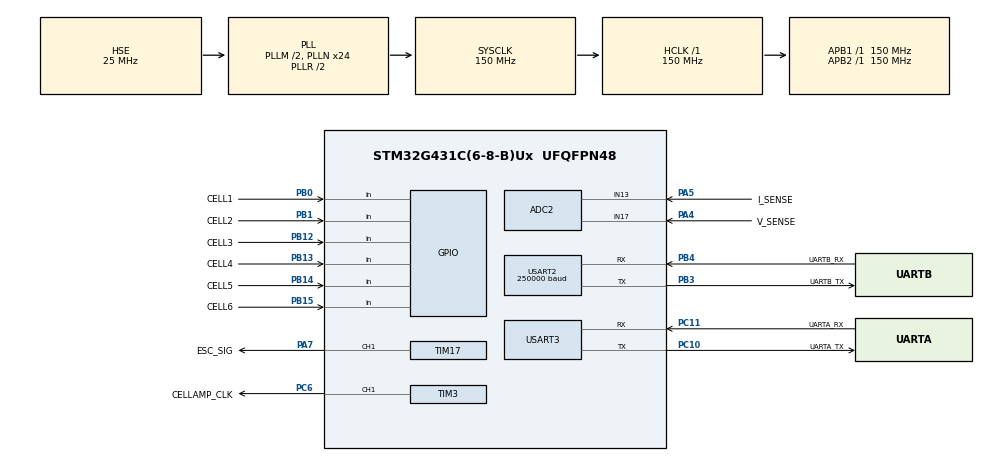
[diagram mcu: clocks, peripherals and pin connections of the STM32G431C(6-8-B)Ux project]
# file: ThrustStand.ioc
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ADC2.Channel-0\#ChannelRegularConversion=ADC_CHANNEL_17
ADC2.Channel-1\#ChannelRegularConversion=ADC_CHANNEL_13
ADC2.ContinuousConvMode=ENABLE
ADC2.NbrOfConversion=2
ADC2.NbrOfConversionFlag=1
ADC2.OffsetNumber-0\#ChannelRegularConversion=ADC_OFFSET_NONE
ADC2.OffsetNumber-1\#ChannelRegularConversion=ADC_OFFSET_NONE
ADC2.OversamplingMode=ENABLE
ADC2.Rank-0\#ChannelRegularConversion=1
ADC2.Rank-1\#ChannelRegularConversion=2
ADC2.Ratio=ADC_OVERSAMPLING_RATIO_256
ADC2.RightBitShift=ADC_RIGHTBITSHIFT_8
ADC2.SamplingTime-0\#ChannelRegularConversion=ADC_SAMPLETIME_2CYCLES_5
ADC2.SamplingTime-1\#ChannelRegularConversion=ADC_SAMPLETIME_2CYCLES_5
Dma.ADC2.0.Direction=DMA_PERIPH_TO_MEMORY
Dma.ADC2.0.EventEnable=DISABLE
Dma.ADC2.0.Instance=DMA1_Channel1
Dma.ADC2.0.MemDataAlignment=DMA_MDATAALIGN_HALFWORD
Dma.ADC2.0.MemInc=DMA_MINC_ENABLE
Dma.ADC2.0.Mode=DMA_NORMAL
Dma.ADC2.0.PeriphDataAlignment=DMA_PDATAALIGN_HALFWORD
Dma.ADC2.0.PeriphInc=DMA_PINC_DISABLE
Dma.ADC2.0.Polarity=HAL_DMAMUX_REQ_GEN_RISING
Dma.ADC2.0.Priority=DMA_PRIORITY_LOW
Dma.ADC2.0.RequestNumber=1
Dma.ADC2.0.SignalID=NONE
Dma.ADC2.0.SyncEnable=DISABLE
Dma.ADC2.0.SyncPolarity=HAL_DMAMUX_SYNC_NO_EVENT
Dma.ADC2.0.SyncRequestNumber=1
Dma.ADC2.0.SyncSignalID=NONE
Dma.Request0=ADC2
Mcu.Family=STM32G4
Mcu.Name=STM32G431C(6-8-B)Ux
Mcu.Package=UFQFPN48
NVIC.DMA1_Channel1_IRQn=true\:0\:0\:false\:false\:true\:false\:true\:true
NVIC.PriorityGroup=NVIC_PRIORITYGROUP_4
NVIC.TIM1_BRK_TIM15_IRQn=true\:0\:0\:false\:false\:true\:true\:true\:true
NVIC.TIM1_UP_TIM16_IRQn=true\:0\:0\:false\:false\:true\:true\:true\:true
NVIC.TIM3_IRQn=true\:0\:0\:false\:false\:true\:true\:true\:true
NVIC.USART2_IRQn=true\:0\:0\:false\:false\:true\:true\:true\:true
NVIC.USART3_IRQn=true\:0\:0\:false\:false\:true\:true\:true\:true
PA13.Mode=Serial_Wire
PA13.Signal=SYS_JTMS-SWDIO
PA14.Mode=Serial_Wire
PA14.Signal=SYS_JTCK-SWCLK
PA4.GPIO_Label=V_SENSE
PA4.Mode=IN17-Single-Ended
PA4.Signal=ADC2_IN17
PA5.GPIO_Label=I_SENSE
PA5.Mode=IN13-Single-Ended
PA5.Signal=ADC2_IN13
PA7.GPIO_Label=ESC_SIG
PA7.Signal=S_TIM17_CH1
PB0.GPIO_Label=CELL1
PB0.Signal=GPIO_Input
PB1.GPIO_Label=CELL2
PB1.Signal=GPIO_Input
PB12.GPIO_Label=CELL3
PB12.Signal=GPIO_Input
PB13.GPIO_Label=CELL4
PB13.Signal=GPIO_Input
PB14.GPIO_Label=CELL5
PB14.Signal=GPIO_Input
PB15.GPIO_Label=CELL6
PB15.Signal=GPIO_Input
PB3.GPIO_Label=UARTB_TX
PB3.Mode=Asynchronous
PB3.Signal=USART2_TX
PB4.GPIO_Label=UARTB_RX
PB4.Mode=Asynchronous
PB4.Signal=USART2_RX
PC10.GPIO_Label=UARTA_TX
PC10.Mode=Asynchronous
PC10.Signal=USART3_TX
PC11.GPIO_Label=UARTA_RX
PC11.Mode=Asynchronous
PC11.Signal=USART3_RX
PC6.GPIO_Label=CELLAMP_CLK
PC6.Signal=S_TIM3_CH1
PF0-OSC_IN.Mode=HSE-External-Oscillator
PF0-OSC_IN.Signal=RCC_OSC_IN
PF1-OSC_OUT.Mode=HSE-External-Oscillator
PF1-OSC_OUT.Signal=RCC_OSC_OUT
ProjectManager.HeapSize=0x200
ProjectManager.StackSize=0x400
ProjectManager.TargetToolchain=STM32CubeIDE
RCC.ADC12Freq_Value=150000000
RCC.AHBFreq_Value=150000000
RCC.APB1Freq_Value=150000000
RCC.APB1TimFreq_Value=150000000
RCC.APB2Freq_Value=150000000
RCC.APB2TimFreq_Value=150000000
RCC.CK48CLockSelection=RCC_USBCLKSOURCE_HSI48
RCC.CortexFreq_Value=150000000
RCC.EXTERNAL_CLOCK_VALUE=12288000
RCC.HCLKFreq_Value=150000000
RCC.HSE_VALUE=25000000
RCC.HSI48_VALUE=48000000
RCC.HSI_VALUE=16000000
RCC.LSE_VALUE=32768
RCC.PLLM=RCC_PLLM_DIV2
RCC.PLLN=24
RCC.PLLSourceVirtual=RCC_PLLSOURCE_HSE
RCC.SYSCLKFreq_VALUE=150000000
RCC.SYSCLKSource=RCC_SYSCLKSOURCE_PLLCLK
RCC.USART2CLockSelection=RCC_USART2CLKSOURCE_SYSCLK
RCC.USART3CLockSelection=RCC_USART3CLKSOURCE_SYSCLK
RCC.USBFreq_Value=48000000
RCC.VCOOutputFreq_Value=300000000
SH.S_TIM17_CH1.0=TIM17_CH1,PWM Generation1 CH1
SH.S_TIM3_CH1.0=TIM3_CH1,PWM Generation1 CH1
TIM15.PeriodNoDither=5000
TIM15.Prescaler=1500-1
TIM16.PeriodNoDither=5000-1
TIM16.Prescaler=15000-1
TIM17.Channel=TIM_CHANNEL_1
TIM17.PeriodNoDither=20000-1
TIM17.Prescaler=150-1
TIM17.PulseNoDither_1=1000
TIM3.Channel-PWM\ Generation1\ CH1=TIM_CHANNEL_1
TIM3.CounterMode=TIM_COUNTERMODE_DOWN
TIM3.OCPolarity_1=TIM_OCPOLARITY_HIGH
TIM3.PeriodNoDither=10-1
TIM3.Prescaler=150-1
TIM3.PulseNoDither_1=4
USART2.BaudRate=250000
USART2.VirtualMode-Asynchronous=VM_ASYNC
USART3.AutoBaudRateEnableParam=UART_ADVFEATURE_AUTOBAUDRATE_ENABLE
USART3.VirtualMode-Asynchronous=VM_ASYNC
VP_TIM15_VS_ClockSourceINT.Mode=Internal
VP_TIM16_VS_ClockSourceINT.Mode=Enable_Timer
VP_TIM17_VS_ClockSourceINT.Mode=Enable_Timer
VP_TIM3_VS_ClockSourceINT.Mode=Internal
board=custom

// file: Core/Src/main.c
/* USER CODE BEGIN Header */
/**
 ******************************************************************************
 * @file           : main.c
 * @brief          : Main program body
 ******************************************************************************
 * @attention
 *
 * Copyright (c) 2023 Charles Surianto
 * All rights reserved.
 *
 ******************************************************************************
 */
/* USER CODE END Header */
#include "main.h"

/* USER CODE BEGIN Includes */
#include "stdio.h"
#include "stdint.h"
#include "string.h"
/* USER CODE END Includes */

ADC_HandleTypeDef hadc2;
DMA_HandleTypeDef hdma_adc2;

TIM_HandleTypeDef htim3;
TIM_HandleTypeDef htim15;
TIM_HandleTypeDef htim16;
TIM_HandleTypeDef htim17;

UART_HandleTypeDef huart2;
UART_HandleTypeDef huart3;

/* USER CODE BEGIN PV */
GPIO_TypeDef *HX717DataPorts[NUM_OF_CELLS] = {
    CELL1_GPIO_Port,
    CELL2_GPIO_Port,
    CELL3_GPIO_Port,
    CELL4_GPIO_Port,
    CELL5_GPIO_Port,
    CELL6_GPIO_Port};
uint16_t HX717DataPins[NUM_OF_CELLS] = {
    CELL1_Pin,
    CELL2_Pin,
    CELL3_Pin,
    CELL4_Pin,
    CELL5_Pin,
    CELL6_Pin};
int32_t RawCellReadings[NUM_OF_CELLS];
int8_t PulseCounter = -1;

uint16_t RawADCReadings[2];
float Voltage;
float Current;
float VoltPerADC = 1.40822486624E-2F;
float AmpPerADC = 2.6271654212E-2F;
float AmpOffset = 50;

uint8_t UARTARxCounter = 0;
uint8_t UARTARxByte;
uint8_t UARTARxBuffer[UART_RX_BUFFER_SIZE];
uint8_t UARTATxBuffer[UART_TX_BUFFER_SIZE];
uint8_t UARTATimedOut = 0;

uint16_t ESCPulse = 1000;
uint16_t PrevESCPulse;
/* USER CODE END PV */

void SystemClock_Config(void);
static void MX_GPIO_Init(void);
static void MX_DMA_Init(void);
static void MX_USART2_UART_Init(void);
static void MX_USART3_UART_Init(void);
static void MX_ADC2_Init(void);
static void MX_TIM17_Init(void);
static void MX_TIM16_Init(void);
static void MX_TIM3_Init(void);
static void MX_TIM15_Init(void);
/* USER CODE BEGIN PFP */
void HX717_Init(void);
/* USER CODE END PFP */

int main(void)
{

    /* MCU Configuration--------------------------------------------------------*/

    /* Reset of all peripherals, Initializes the Flash interface and the Systick. */
    HAL_Init();

    /* Configure the system clock */
    SystemClock_Config();

    /* Initialize all configured peripherals */
    MX_GPIO_Init();
    MX_DMA_Init();
    MX_USART2_UART_Init();
    MX_USART3_UART_Init();
    MX_ADC2_Init();
    MX_TIM17_Init();
    MX_TIM16_Init();
    MX_TIM3_Init();
    MX_TIM15_Init();
    /* USER CODE BEGIN 2 */
    HX717_Init();
    /* USER CODE END 2 */

    /* Infinite loop */
    while (1)
    {

    }
}

void SystemClock_Config(void)
{
    RCC_OscInitTypeDef RCC_OscInitStruct = {0};
    RCC_ClkInitTypeDef RCC_ClkInitStruct = {0};

    /** Configure the main internal regulator output voltage
     */
    HAL_PWREx_ControlVoltageScaling(PWR_REGULATOR_VOLTAGE_SCALE1);

    /** Initializes the RCC Oscillators according to the specified parameters
     * in the RCC_OscInitTypeDef structure.
     */
    RCC_OscInitStruct.OscillatorType = RCC_OSCILLATORTYPE_HSE;
    RCC_OscInitStruct.HSEState = RCC_HSE_ON;
    RCC_OscInitStruct.PLL.PLLState = RCC_PLL_ON;
    RCC_OscInitStruct.PLL.PLLSource = RCC_PLLSOURCE_HSE;
    RCC_OscInitStruct.PLL.PLLM = RCC_PLLM_DIV2;
    RCC_OscInitStruct.PLL.PLLN = 24;
    RCC_OscInitStruct.PLL.PLLP = RCC_PLLP_DIV2;
    RCC_OscInitStruct.PLL.PLLQ = RCC_PLLQ_DIV2;
    RCC_OscInitStruct.PLL.PLLR = RCC_PLLR_DIV2;
    if (HAL_RCC_OscConfig(&RCC_OscInitStruct) != HAL_OK)
    {
        Error_Handler();
    }

    /** Initializes the CPU, AHB and APB buses clocks
     */
    RCC_ClkInitStruct.ClockType = RCC_CLOCKTYPE_HCLK | RCC_CLOCKTYPE_SYSCLK | RCC_CLOCKTYPE_PCLK1 | RCC_CLOCKTYPE_PCLK2;
    RCC_ClkInitStruct.SYSCLKSource = RCC_SYSCLKSOURCE_PLLCLK;
    RCC_ClkInitStruct.AHBCLKDivider = RCC_SYSCLK_DIV1;
    RCC_ClkInitStruct.APB1CLKDivider = RCC_HCLK_DIV1;
    RCC_ClkInitStruct.APB2CLKDivider = RCC_HCLK_DIV1;

    if (HAL_RCC_ClockConfig(&RCC_ClkInitStruct, FLASH_LATENCY_4) != HAL_OK)
    {
        Error_Handler();
    }
}

static void MX_ADC2_Init(void)
{

    ADC_ChannelConfTypeDef sConfig = {0};

    /** Common config
     */
    hadc2.Instance = ADC2;
    hadc2.Init.ClockPrescaler = ADC_CLOCK_SYNC_PCLK_DIV4;
    hadc2.Init.Resolution = ADC_RESOLUTION_12B;
    hadc2.Init.DataAlign = ADC_DATAALIGN_RIGHT;
    hadc2.Init.GainCompensation = 0;
    hadc2.Init.ScanConvMode = ADC_SCAN_ENABLE;
    hadc2.Init.EOCSelection = ADC_EOC_SINGLE_CONV;
    hadc2.Init.LowPowerAutoWait = DISABLE;
    hadc2.Init.ContinuousConvMode = ENABLE;
    hadc2.Init.NbrOfConversion = 2;
    hadc2.Init.DiscontinuousConvMode = DISABLE;
    hadc2.Init.ExternalTrigConv = ADC_SOFTWARE_START;
    hadc2.Init.ExternalTrigConvEdge = ADC_EXTERNALTRIGCONVEDGE_NONE;
    hadc2.Init.DMAContinuousRequests = DISABLE;
    hadc2.Init.Overrun = ADC_OVR_DATA_PRESERVED;
    hadc2.Init.OversamplingMode = ENABLE;
    hadc2.Init.Oversampling.Ratio = ADC_OVERSAMPLING_RATIO_256;
    hadc2.Init.Oversampling.RightBitShift = ADC_RIGHTBITSHIFT_8;
    hadc2.Init.Oversampling.TriggeredMode = ADC_TRIGGEREDMODE_SINGLE_TRIGGER;
    hadc2.Init.Oversampling.OversamplingStopReset = ADC_REGOVERSAMPLING_CONTINUED_MODE;
    if (HAL_ADC_Init(&hadc2) != HAL_OK)
    {
        Error_Handler();
    }

    /** Configure Regular Channel
     */
    sConfig.Channel = ADC_CHANNEL_17;
    sConfig.Rank = ADC_REGULAR_RANK_1;
    sConfig.SamplingTime = ADC_SAMPLETIME_2CYCLES_5;
    sConfig.SingleDiff = ADC_SINGLE_ENDED;
    sConfig.OffsetNumber = ADC_OFFSET_NONE;
    sConfig.Offset = 0;
    if (HAL_ADC_ConfigChannel(&hadc2, &sConfig) != HAL_OK)
    {
        Error_Handler();
    }

    /** Configure Regular Channel
     */
    sConfig.Channel = ADC_CHANNEL_13;
    sConfig.Rank = ADC_REGULAR_RANK_2;
    if (HAL_ADC_ConfigChannel(&hadc2, &sConfig) != HAL_OK)
    {
        Error_Handler();
    }
}

static void MX_TIM3_Init(void)
{

    TIM_ClockConfigTypeDef sClockSourceConfig = {0};
    TIM_MasterConfigTypeDef sMasterConfig = {0};
    TIM_OC_InitTypeDef sConfigOC = {0};

    htim3.Instance = TIM3;
    htim3.Init.Prescaler = 150 - 1;
    htim3.Init.CounterMode = TIM_COUNTERMODE_DOWN;
    htim3.Init.Period = 9;
    htim3.Init.ClockDivision = TIM_CLOCKDIVISION_DIV1;
    htim3.Init.AutoReloadPreload = TIM_AUTORELOAD_PRELOAD_DISABLE;
    if (HAL_TIM_Base_Init(&htim3) != HAL_OK)
    {
        Error_Handler();
    }
    sClockSourceConfig.ClockSource = TIM_CLOCKSOURCE_INTERNAL;
    if (HAL_TIM_ConfigClockSource(&htim3, &sClockSourceConfig) != HAL_OK)
    {
        Error_Handler();
    }
    if (HAL_TIM_PWM_Init(&htim3) != HAL_OK)
    {
        Error_Handler();
    }
    sMasterConfig.MasterOutputTrigger = TIM_TRGO_RESET;
    sMasterConfig.MasterSlaveMode = TIM_MASTERSLAVEMODE_DISABLE;
    if (HAL_TIMEx_MasterConfigSynchronization(&htim3, &sMasterConfig) != HAL_OK)
    {
        Error_Handler();
    }
    sConfigOC.OCMode = TIM_OCMODE_PWM1;
    sConfigOC.Pulse = 4;
    sConfigOC.OCPolarity = TIM_OCPOLARITY_HIGH;
    sConfigOC.OCFastMode = TIM_OCFAST_DISABLE;
    if (HAL_TIM_PWM_ConfigChannel(&htim3, &sConfigOC, TIM_CHANNEL_1) != HAL_OK)
    {
        Error_Handler();
    }
    HAL_TIM_MspPostInit(&htim3);
}

static void MX_TIM15_Init(void)
{

    TIM_ClockConfigTypeDef sClockSourceConfig = {0};
    TIM_MasterConfigTypeDef sMasterConfig = {0};

    htim15.Instance = TIM15;
    htim15.Init.Prescaler = 1500 - 1;
    htim15.Init.CounterMode = TIM_COUNTERMODE_UP;
    htim15.Init.Period = 5000;
    htim15.Init.ClockDivision = TIM_CLOCKDIVISION_DIV1;
    htim15.Init.RepetitionCounter = 0;
    htim15.Init.AutoReloadPreload = TIM_AUTORELOAD_PRELOAD_DISABLE;
    if (HAL_TIM_Base_Init(&htim15) != HAL_OK)
    {
        Error_Handler();
    }
    sClockSourceConfig.ClockSource = TIM_CLOCKSOURCE_INTERNAL;
    if (HAL_TIM_ConfigClockSource(&htim15, &sClockSourceConfig) != HAL_OK)
    {
        Error_Handler();
    }
    sMasterConfig.MasterOutputTrigger = TIM_TRGO_RESET;
    sMasterConfig.MasterSlaveMode = TIM_MASTERSLAVEMODE_DISABLE;
    if (HAL_TIMEx_MasterConfigSynchronization(&htim15, &sMasterConfig) != HAL_OK)
    {
        Error_Handler();
    }
    /* USER CODE BEGIN TIM15_Init 2 */
    HAL_TIM_Base_Start_IT(&htim15);
    /* USER CODE END TIM15_Init 2 */
}

static void MX_TIM16_Init(void)
{

    htim16.Instance = TIM16;
    htim16.Init.Prescaler = 15000 - 1;
    htim16.Init.CounterMode = TIM_COUNTERMODE_UP;
    htim16.Init.Period = 4999;
    htim16.Init.ClockDivision = TIM_CLOCKDIVISION_DIV1;
    htim16.Init.RepetitionCounter = 0;
    htim16.Init.AutoReloadPreload = TIM_AUTORELOAD_PRELOAD_DISABLE;
    if (HAL_TIM_Base_Init(&htim16) != HAL_OK)
    {
        Error_Handler();
    }
    /* USER CODE BEGIN TIM16_Init 2 */
    HAL_TIM_Base_Start_IT(&htim16);
    /* USER CODE END TIM16_Init 2 */
}

static void MX_TIM17_Init(void)
{

    TIM_OC_InitTypeDef sConfigOC = {0};
    TIM_BreakDeadTimeConfigTypeDef sBreakDeadTimeConfig = {0};

    htim17.Instance = TIM17;
    htim17.Init.Prescaler = 150 - 1;
    htim17.Init.CounterMode = TIM_COUNTERMODE_UP;
    htim17.Init.Period = 19999;
    htim17.Init.ClockDivision = TIM_CLOCKDIVISION_DIV1;
    htim17.Init.RepetitionCounter = 0;
    htim17.Init.AutoReloadPreload = TIM_AUTORELOAD_PRELOAD_DISABLE;
    if (HAL_TIM_Base_Init(&htim17) != HAL_OK)
    {
        Error_Handler();
    }
    if (HAL_TIM_PWM_Init(&htim17) != HAL_OK)
    {
        Error_Handler();
    }
    sConfigOC.OCMode = TIM_OCMODE_PWM1;
    sConfigOC.Pulse = 1000;
    sConfigOC.OCPolarity = TIM_OCPOLARITY_HIGH;
    sConfigOC.OCNPolarity = TIM_OCNPOLARITY_HIGH;
    sConfigOC.OCFastMode = TIM_OCFAST_DISABLE;
    sConfigOC.OCIdleState = TIM_OCIDLESTATE_RESET;
    sConfigOC.OCNIdleState = TIM_OCNIDLESTATE_RESET;
    if (HAL_TIM_PWM_ConfigChannel(&htim17, &sConfigOC, TIM_CHANNEL_1) != HAL_OK)
    {
        Error_Handler();
    }
    sBreakDeadTimeConfig.OffStateRunMode = TIM_OSSR_DISABLE;
    sBreakDeadTimeConfig.OffStateIDLEMode = TIM_OSSI_DISABLE;
    sBreakDeadTimeConfig.LockLevel = TIM_LOCKLEVEL_OFF;
    sBreakDeadTimeConfig.DeadTime = 0;
    sBreakDeadTimeConfig.BreakState = TIM_BREAK_DISABLE;
    sBreakDeadTimeConfig.BreakPolarity = TIM_BREAKPOLARITY_HIGH;
    sBreakDeadTimeConfig.BreakFilter = 0;
    sBreakDeadTimeConfig.AutomaticOutput = TIM_AUTOMATICOUTPUT_DISABLE;
    if (HAL_TIMEx_ConfigBreakDeadTime(&htim17, &sBreakDeadTimeConfig) != HAL_OK)
    {
        Error_Handler();
    }
    /* USER CODE BEGIN TIM17_Init 2 */
    HAL_TIM_PWM_Start(&htim17, TIM_CHANNEL_1);
    /* USER CODE END TIM17_Init 2 */
    HAL_TIM_MspPostInit(&htim17);
}

static void MX_USART2_UART_Init(void)
{

    huart2.Instance = USART2;
    huart2.Init.BaudRate = 250000;
    huart2.Init.WordLength = UART_WORDLENGTH_8B;
    huart2.Init.StopBits = UART_STOPBITS_1;
    huart2.Init.Parity = UART_PARITY_NONE;
    huart2.Init.Mode = UART_MODE_TX_RX;
    huart2.Init.HwFlowCtl = UART_HWCONTROL_NONE;
    huart2.Init.OverSampling = UART_OVERSAMPLING_16;
    huart2.Init.OneBitSampling = UART_ONE_BIT_SAMPLE_DISABLE;
    huart2.Init.ClockPrescaler = UART_PRESCALER_DIV1;
    huart2.AdvancedInit.AdvFeatureInit = UART_ADVFEATURE_NO_INIT;
    if (HAL_UART_Init(&huart2) != HAL_OK)
    {
        Error_Handler();
    }
    if (HAL_UARTEx_SetTxFifoThreshold(&huart2, UART_TXFIFO_THRESHOLD_1_8) != HAL_OK)
    {
        Error_Handler();
    }
    if (HAL_UARTEx_SetRxFifoThreshold(&huart2, UART_RXFIFO_THRESHOLD_1_8) != HAL_OK)
    {
        Error_Handler();
    }
    if (HAL_UARTEx_DisableFifoMode(&huart2) != HAL_OK)
    {
        Error_Handler();
    }
}

static void MX_USART3_UART_Init(void)
{

    huart3.Instance = USART3;
    huart3.Init.BaudRate = 115200;
    huart3.Init.WordLength = UART_WORDLENGTH_8B;
    huart3.Init.StopBits = UART_STOPBITS_1;
    huart3.Init.Parity = UART_PARITY_NONE;
    huart3.Init.Mode = UART_MODE_TX_RX;
    huart3.Init.HwFlowCtl = UART_HWCONTROL_NONE;
    huart3.Init.OverSampling = UART_OVERSAMPLING_16;
    huart3.Init.OneBitSampling = UART_ONE_BIT_SAMPLE_DISABLE;
    huart3.Init.ClockPrescaler = UART_PRESCALER_DIV1;
    huart3.AdvancedInit.AdvFeatureInit = UART_ADVFEATURE_AUTOBAUDRATE_INIT;
    huart3.AdvancedInit.AutoBaudRateEnable = UART_ADVFEATURE_AUTOBAUDRATE_ENABLE;
    huart3.AdvancedInit.AutoBaudRateMode = UART_ADVFEATURE_AUTOBAUDRATE_ONSTARTBIT;
    if (HAL_UART_Init(&huart3) != HAL_OK)
    {
        Error_Handler();
    }
    if (HAL_UARTEx_SetTxFifoThreshold(&huart3, UART_TXFIFO_THRESHOLD_1_8) != HAL_OK)
    {
        Error_Handler();
    }
    if (HAL_UARTEx_SetRxFifoThreshold(&huart3, UART_RXFIFO_THRESHOLD_1_8) != HAL_OK)
    {
        Error_Handler();
    }
    if (HAL_UARTEx_DisableFifoMode(&huart3) != HAL_OK)
    {
        Error_Handler();
    }
    /* USER CODE BEGIN USART3_Init 2 */
    HAL_UART_Receive_IT(&HUARTA, &UARTARxByte, 1);
    /* USER CODE END USART3_Init 2 */
}

static void MX_DMA_Init(void)
{

    /* DMA controller clock enable */
    __HAL_RCC_DMAMUX1_CLK_ENABLE();
    __HAL_RCC_DMA1_CLK_ENABLE();

    /* DMA interrupt init */
    /* DMA1_Channel1_IRQn interrupt configuration */
    HAL_NVIC_SetPriority(DMA1_Channel1_IRQn, 0, 0);
    HAL_NVIC_EnableIRQ(DMA1_Channel1_IRQn);
}

static void MX_GPIO_Init(void)
{
    GPIO_InitTypeDef GPIO_InitStruct = {0};

    /* GPIO Ports Clock Enable */
    __HAL_RCC_GPIOF_CLK_ENABLE();
    __HAL_RCC_GPIOA_CLK_ENABLE();
    __HAL_RCC_GPIOB_CLK_ENABLE();
    __HAL_RCC_GPIOC_CLK_ENABLE();

    /*Configure GPIO pins : CELL1_Pin CELL2_Pin CELL3_Pin CELL4_Pin
                             CELL5_Pin CELL6_Pin */
    GPIO_InitStruct.Pin = CELL1_Pin | CELL2_Pin | CELL3_Pin | CELL4_Pin | CELL5_Pin | CELL6_Pin;
    GPIO_InitStruct.Mode = GPIO_MODE_INPUT;
    GPIO_InitStruct.Pull = GPIO_NOPULL;
    HAL_GPIO_Init(GPIOB, &GPIO_InitStruct);

}

/* USER CODE BEGIN 4 */
void HX717_Init(void)
{
    __HAL_TIM_SET_COMPARE(&htim3, TIM_CHANNEL_1, 20); // 100% duty cycle
    HAL_TIM_PWM_Start(&htim3, TIM_CHANNEL_1);
    HAL_Delay(1); // wait
    __HAL_TIM_SET_COUNTER(&htim3, 0xffff);
    HAL_TIM_PWM_Stop(&htim3, TIM_CHANNEL_1);
    __HAL_TIM_SET_COMPARE(&htim3, TIM_CHANNEL_1, 4);
    PulseCounter = 0;
}

void HAL_TIM_PeriodElapsedCallback(TIM_HandleTypeDef *htim)
{
    // periodic interrupt
    if (htim == &htim15)
    {
        // start next cycle read
        if (HAL_GPIO_ReadPin(GPIOB, CELL1_Pin | CELL2_Pin | CELL3_Pin | CELL4_Pin | CELL5_Pin | CELL6_Pin) == 0 && PulseCounter == 0)
        {
            // read channel A with 128 gain (HX717 datasheet)
            // HAL_TIM_PWM_Start_DMA(&htim3, TIM_CHANNEL_1, (uint32_t *)ClockPulses, 25);
            HAL_TIM_PWM_Start_IT(&htim3, TIM_CHANNEL_1);
        }

        // start adc reading
        HAL_ADC_Start_DMA(&hadc2, (uint32_t *)RawADCReadings, 2);

        if (!UARTATimedOut)
        {
            // extend RawCellReadings sign bits
            for (int i = 0; i < NUM_OF_CELLS; i++)
            {
                if ((RawCellReadings[i] & (1 << 23)) != 0)
                {
                    RawCellReadings[i] |= 0xff000000;
                }
                else
                {
                    RawCellReadings[i] &= 0x00ffffff;
                }
            }

            // cook the string
            int bufferSize = sprintf((char *)UARTATxBuffer, "%u %.2f %.2f", ESCPulse, Voltage, Current);
            for (int i = 0; i < NUM_OF_CELLS; i++)
            {
                bufferSize += sprintf(((char *)UARTATxBuffer + bufferSize), " %ld", RawCellReadings[i]);
            }
            bufferSize += sprintf(((char *)UARTATxBuffer + bufferSize), "\n");

            // write to serial
            HAL_UART_Transmit_IT(&HUARTA, UARTATxBuffer, bufferSize);
        }
    }

    // uart timeout
    if (htim == &htim16)
    {
        ESCPulse = 1000; // set throttle to 0%
        __HAL_TIM_SET_COMPARE(&htim17, TIM_CHANNEL_1, ESCPulse);
        UARTATimedOut = 1; // set flag

        // failsafe calling
        HAL_UART_Receive_IT(&HUARTA, &UARTARxByte, 1);
    }
}

void HAL_TIM_PWM_PulseFinishedCallback(TIM_HandleTypeDef *htim)
{
    // cell amp clock falling edge
    if (htim == &htim3)
    {
        PulseCounter++;

        // read all the bits
        if (PulseCounter <= 24)
        {
            for (int i = 0; i < NUM_OF_CELLS; i++)
            {
                RawCellReadings[i] <<= 1;
                if (HAL_GPIO_ReadPin(HX717DataPorts[i], HX717DataPins[i]))
                {
                    RawCellReadings[i] |= 1;
                }
            }
        }
        else if (PulseCounter >= 25)
        {
            __HAL_TIM_SET_COUNTER(&htim3, 0xffff);      // set pin low
            HAL_TIM_PWM_Stop_IT(&htim3, TIM_CHANNEL_1); // stop clock pulses
            PulseCounter = 0;                           // reset counter
        }
    }
}

void HAL_ADC_ConvCpltCallback(ADC_HandleTypeDef *hadc)
{
    if (hadc == &hadc2)
    {
        // convert raw to volts and amps
        Voltage = (float)RawADCReadings[0] * VoltPerADC;
        Current = (float)RawADCReadings[1] * AmpPerADC - AmpOffset;
    }
}

void HAL_UART_RxCpltCallback(UART_HandleTypeDef *huart)
{
    if (huart == &HUARTA)
    {
        // reset uart timeout timer
        __HAL_TIM_SET_COUNTER(&htim16, 0);

        UARTATimedOut = 0; // reset flag

        if (UARTARxByte == '\n' || UARTARxByte == '\r' || UARTARxCounter >= UART_RX_BUFFER_SIZE)
        {
            UARTARxBuffer[UARTARxCounter] = 0; // put string terminator
            UARTARxCounter = 0;                // reset counter

            float temp;

            switch (UARTARxBuffer[0])
            {
            case 'V':
                sscanf((char *)(&UARTARxBuffer[1]), "%f", &temp);
                VoltPerADC *= temp;
                break;
            case 'A':
                sscanf((char *)(&UARTARxBuffer[1]), "%f", &temp);
                AmpPerADC *= temp;
                AmpOffset *= temp;
                break;
            case 'O':
                sscanf((char *)(&UARTARxBuffer[1]), "%f", &temp);
                AmpOffset += temp;
                break;
            default:
                // save and set esc pulse
                int receivedPulse = (UARTARxBuffer[0] - '0') * 1000  //
                                    + (UARTARxBuffer[1] - '0') * 100 //
                                    + (UARTARxBuffer[2] - '0') * 10  //
                                    + (UARTARxBuffer[3] - '0');      //

                if (receivedPulse >= 1000 && receivedPulse <= 2000)
                {
                    if (receivedPulse == PrevESCPulse)
                    {
                        ESCPulse = receivedPulse;
                        __HAL_TIM_SET_COMPARE(&htim17, TIM_CHANNEL_1, ESCPulse);
                    }
                    PrevESCPulse = receivedPulse;
                }
                break;
            }
        }
        else
        {
            // fill the buffer
            UARTARxBuffer[UARTARxCounter++] = UARTARxByte;
        }

        // listen for the next message
        HAL_UART_Receive_IT(&HUARTA, &UARTARxByte, 1);
    }

    // if (huart == &HUARTB)
    // {
    // }
}

void HAL_UART_TxCpltCallback(UART_HandleTypeDef *huart)
{
    // if (huart == &HUARTA)
    // {
    // }

    // if (huart == &HUARTB)
    // {
    // }
}
/* USER CODE END 4 */

void Error_Handler(void)
{
    __disable_irq();
    while (1)
    {
    }
}
